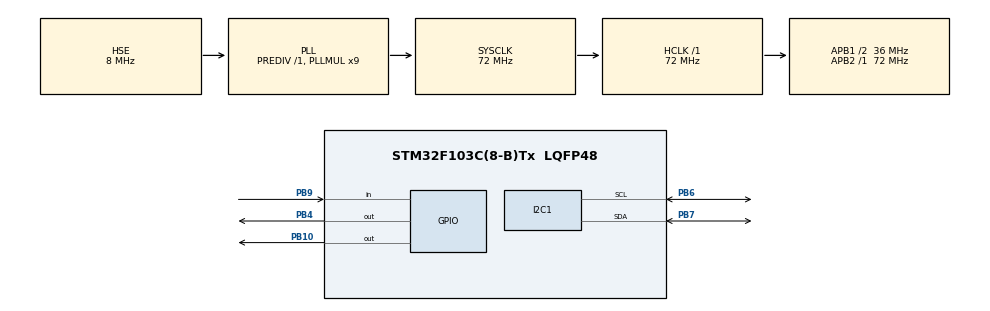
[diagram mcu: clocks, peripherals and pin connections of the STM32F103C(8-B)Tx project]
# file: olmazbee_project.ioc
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Mcu.Family=STM32F1
Mcu.Name=STM32F103C(8-B)Tx
Mcu.Package=LQFP48
NVIC.PriorityGroup=NVIC_PRIORITYGROUP_4
PA13.Mode=Serial_Wire
PA13.Signal=SYS_JTMS-SWDIO
PA14.Mode=Serial_Wire
PA14.Signal=SYS_JTCK-SWCLK
PB10.Signal=GPIO_Output
PB4.Signal=GPIO_Output
PB6.Mode=I2C
PB6.Signal=I2C1_SCL
PB7.Mode=I2C
PB7.Signal=I2C1_SDA
PB9.Signal=GPIO_Input
PD0-OSC_IN.Mode=HSE-External-Oscillator
PD0-OSC_IN.Signal=RCC_OSC_IN
PD1-OSC_OUT.Mode=HSE-External-Oscillator
PD1-OSC_OUT.Signal=RCC_OSC_OUT
ProjectManager.HeapSize=0x200
ProjectManager.StackSize=0x400
ProjectManager.TargetToolchain=STM32CubeIDE
RCC.AHBFreq_Value=72000000
RCC.APB1CLKDivider=RCC_HCLK_DIV2
RCC.APB1Freq_Value=36000000
RCC.APB1TimFreq_Value=72000000
RCC.APB2Freq_Value=72000000
RCC.APB2TimFreq_Value=72000000
RCC.HCLKFreq_Value=72000000
RCC.PLLMUL=RCC_PLL_MUL9
RCC.PLLSourceVirtual=RCC_PLLSOURCE_HSE
RCC.SYSCLKFreq_VALUE=72000000
RCC.SYSCLKSource=RCC_SYSCLKSOURCE_PLLCLK
RCC.USBFreq_Value=72000000
TIM1.Prescaler=71
VP_TIM1_VS_ClockSourceINT.Mode=Internal
board=custom

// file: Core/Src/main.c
#include "main.h"
#include "icons.h" // 新增的图标头文件

/* USER CODE BEGIN Includes */
#include "ssd1306.h"
#include "ssd1306_fonts.h"
#include "stdio.h"
/* USER CODE END Includes */

/* USER CODE BEGIN PD */
#define DHT11_PORT GPIOB
#define DHT11_PIN GPIO_PIN_9
/* USER CODE END PD */

I2C_HandleTypeDef hi2c1;

TIM_HandleTypeDef htim1;

void SystemClock_Config(void);
static void MX_GPIO_Init(void);
static void MX_I2C1_Init(void);
static void MX_TIM1_Init(void);

/* USER CODE BEGIN 0 */

// 1. 微秒延时函数
void microDelay(uint16_t delay)
{
  __HAL_TIM_SET_COUNTER(&htim1, 0);
  while (__HAL_TIM_GET_COUNTER(&htim1) < delay)
    ;
}

// 2. 设置引脚为输出模式
void Set_Pin_Output(GPIO_TypeDef *GPIOx, uint16_t GPIO_Pin)
{
  GPIO_InitTypeDef GPIO_InitStruct = {0};
  GPIO_InitStruct.Pin = GPIO_Pin;
  GPIO_InitStruct.Mode = GPIO_MODE_OUTPUT_PP;
  GPIO_InitStruct.Speed = GPIO_SPEED_FREQ_LOW;
  HAL_GPIO_Init(GPIOx, &GPIO_InitStruct);
}

// 3. 设置引脚为输入模式
void Set_Pin_Input(GPIO_TypeDef *GPIOx, uint16_t GPIO_Pin)
{
  GPIO_InitTypeDef GPIO_InitStruct = {0};
  GPIO_InitStruct.Pin = GPIO_Pin;
  GPIO_InitStruct.Mode = GPIO_MODE_INPUT;
  GPIO_InitStruct.Pull = GPIO_NOPULL; // 假设外部已有上拉电阻
  HAL_GPIO_Init(GPIOx, &GPIO_InitStruct);
}

// 4. DHT11 开始信号
uint8_t DHT11_Start(void)
{
  uint8_t Response = 0;
  Set_Pin_Output(DHT11_PORT, DHT11_PIN);       // 设置为输出
  HAL_GPIO_WritePin(DHT11_PORT, DHT11_PIN, 0); // 拉低
  HAL_Delay(20);                               // 至少18ms
  HAL_GPIO_WritePin(DHT11_PORT, DHT11_PIN, 1); // 拉高
  microDelay(30);                              // 等待 30us
  Set_Pin_Input(DHT11_PORT, DHT11_PIN);        // 设置为输入

  // 等待传感器响应
  uint16_t timeout = 0;
  while (HAL_GPIO_ReadPin(DHT11_PORT, DHT11_PIN))
  {
    timeout++;
    if (timeout > 1000)
      return 0; // 超时
  }
  timeout = 0;
  while (!HAL_GPIO_ReadPin(DHT11_PORT, DHT11_PIN))
  {
    timeout++;
    if (timeout > 1000)
      return 0; // 超时
  }
  timeout = 0;
  while (HAL_GPIO_ReadPin(DHT11_PORT, DHT11_PIN))
  {
    timeout++;
    if (timeout > 1000)
      return 0; // 超时
  }

  return 1; // 成功
}

// 5. DHT11 读取一个字节
uint8_t DHT11_Read(void)
{
  uint8_t i, value = 0;
  for (i = 0; i < 8; i++)
  {
    while (!HAL_GPIO_ReadPin(DHT11_PORT, DHT11_PIN))
      ;                                           // 等待位开始 (高)
    microDelay(40);                               // 延时40us
    if (!HAL_GPIO_ReadPin(DHT11_PORT, DHT11_PIN)) // 如果40us后还是低电平, 则是 0
    {
      value &= ~(1 << (7 - i));
    }
    else // 否则是 1
    {
      value |= (1 << (7 - i));
    }
    while (HAL_GPIO_ReadPin(DHT11_PORT, DHT11_PIN))
      ; // 等待位结束 (低)
  }
  return value;
}

/* USER CODE END 0 */

int main(void)
{

  /* MCU Configuration--------------------------------------------------------*/

  /* Reset of all peripherals, Initializes the Flash interface and the Systick. */
  HAL_Init();

  /* Configure the system clock */
  SystemClock_Config();

  /* Initialize all configured peripherals */
  MX_GPIO_Init();
  MX_I2C1_Init();
  MX_TIM1_Init();
  /* USER CODE BEGIN 2 */
  HAL_TIM_Base_Start(&htim1); // 启动微秒定时器
  ssd1306_Init();             // 初始化OLED

  ssd1306_SetCursor(0, 0);
  ssd1306_WriteString("Starting...", Font_7x10, White);
  ssd1306_UpdateScreen();
  HAL_Delay(1000);

  //
  // !!! --- 把变量定义在 while 循环外面 --- !!!
  //
  uint8_t RHI = 0, RHD = 0, TCI = 0, TCD = 0, SUM = 0;
  uint8_t Temperature = 0; // 初始温度为0
  uint8_t Humidity = 0;    // 初始湿度为0

  // 字符串缓冲区
  char temp_str[20];
  char hum_str[20];
  char fan_str[20]; // 用于调试风扇状态

  /* USER CODE END 2 */

  /* Infinite loop */
  while (1)
  {

    /* USER CODE BEGIN 3 */

    // --- 1. 读取传感器 ---
    if (DHT11_Start())
    {
      RHI = DHT11_Read(); // 湿度整数
      RHD = DHT11_Read(); // 湿度小数
      TCI = DHT11_Read(); // 温度整数
      TCD = DHT11_Read(); // 温度小数
      SUM = DHT11_Read(); // 校验和

      // 只有在校验和正确时, 才更新温湿度值
      // 如果校验失败, Temperature 会保持上一次的正确数值
      if (RHI + RHD + TCI + TCD == SUM)
      {
        Temperature = TCI;
        Humidity = RHI;
      }
    }
    // (如果DHT11_Start()失败, Temperature 也会保持上一次的值)

    // --- 2. 控制逻辑 (风扇) ---
    // 硬件: 风扇在 PB4, 高电平有效 (SET = ON)
    // 逻辑: 温度 > 25 时 ON
    if (Temperature > 26)
    {
      HAL_GPIO_WritePin(GPIOB, GPIO_PIN_4, GPIO_PIN_SET); // <-- 控制 PB4, SET
      sprintf(fan_str, "FAN: ON");
    }
    else
    {
      HAL_GPIO_WritePin(GPIOB, GPIO_PIN_4, GPIO_PIN_RESET); // <-- 控制 PB4, RESET
      sprintf(fan_str, "FAN: OFF");
    }

    // --- 3. 控制逻辑 (蒸汽) ---
    // 硬件: 蒸汽在 PB10, 低电平有效 (RESET = ON)
    // 逻辑: 湿度 < 55 时 ON (你可以改回 45)
    if (Humidity < 65)
    {
      HAL_GPIO_WritePin(GPIOB, GPIO_PIN_10, GPIO_PIN_RESET); // <-- 控制 PB10, RESET
    }
    else
    {
      HAL_GPIO_WritePin(GPIOB, GPIO_PIN_10, GPIO_PIN_SET); // <-- 控制 PB10, SET
    }

    // --- 4. 显示数据到OLED ---
    sprintf(temp_str, "Temp:%d C", Temperature);
    sprintf(hum_str, "Hum: %d %%", Humidity);
    if (Temperature > 26)
    {
      sprintf(fan_str, "FAN: ON");
    }
    else
    {
      sprintf(fan_str, "FAN: OFF");
    }

    ssd1306_Fill(Black); // 清屏

    // --- 显示图标和数据 (最终布局) ---
    // 1. 温度 (黄色区域)
    ssd1306_DrawBitmap(0, 0, icon_temperature, 14, 18, White); // 绘制 14x18 温度图标
    ssd1306_SetCursor(20, 0);                                  // 文字左移
    ssd1306_WriteString(temp_str, Font_11x18, White);

    // 2. 湿度 (蓝色区域)
    ssd1306_DrawBitmap(0, 22, icon_humidity, 14, 18, White); // 绘制 14x18 湿度图标
    ssd1306_SetCursor(20, 24);                               // 文字左移并微调垂直位置
    ssd1306_WriteString(hum_str, Font_11x18, White);

    // 3. 风扇状态 (蓝色区域)
    ssd1306_DrawBitmap(0, 45, icon_fan_on, 18, 18, White); // 绘制 18x18 风扇图标
    ssd1306_SetCursor(20, 50);                             // 文字左移
    ssd1306_WriteString(fan_str, Font_7x10, White);

    ssd1306_UpdateScreen(); // 推送数据到屏幕

    HAL_Delay(1000); // 每一秒钟重复一次

    /* USER CODE END 3 */
  } // <-- 这是 while(1) 的 }
} // <-- 这是 main() 的 }

void SystemClock_Config(void)
{
  RCC_OscInitTypeDef RCC_OscInitStruct = {0};
  RCC_ClkInitTypeDef RCC_ClkInitStruct = {0};

  /** Initializes the RCC Oscillators according to the specified parameters
   * in the RCC_OscInitTypeDef structure.
   */
  RCC_OscInitStruct.OscillatorType = RCC_OSCILLATORTYPE_HSE;
  RCC_OscInitStruct.HSEState = RCC_HSE_ON;
  RCC_OscInitStruct.HSEPredivValue = RCC_HSE_PREDIV_DIV1;
  RCC_OscInitStruct.HSIState = RCC_HSI_ON;
  RCC_OscInitStruct.PLL.PLLState = RCC_PLL_ON;
  RCC_OscInitStruct.PLL.PLLSource = RCC_PLLSOURCE_HSE;
  RCC_OscInitStruct.PLL.PLLMUL = RCC_PLL_MUL9;
  if (HAL_RCC_OscConfig(&RCC_OscInitStruct) != HAL_OK)
  {
    Error_Handler();
  }

  /** Initializes the CPU, AHB and APB buses clocks
   */
  RCC_ClkInitStruct.ClockType = RCC_CLOCKTYPE_HCLK | RCC_CLOCKTYPE_SYSCLK | RCC_CLOCKTYPE_PCLK1 | RCC_CLOCKTYPE_PCLK2;
  RCC_ClkInitStruct.SYSCLKSource = RCC_SYSCLKSOURCE_PLLCLK;
  RCC_ClkInitStruct.AHBCLKDivider = RCC_SYSCLK_DIV1;
  RCC_ClkInitStruct.APB1CLKDivider = RCC_HCLK_DIV2;
  RCC_ClkInitStruct.APB2CLKDivider = RCC_HCLK_DIV1;

  if (HAL_RCC_ClockConfig(&RCC_ClkInitStruct, FLASH_LATENCY_2) != HAL_OK)
  {
    Error_Handler();
  }
}

static void MX_I2C1_Init(void)
{

  hi2c1.Instance = I2C1;
  hi2c1.Init.ClockSpeed = 100000;
  hi2c1.Init.DutyCycle = I2C_DUTYCYCLE_2;
  hi2c1.Init.OwnAddress1 = 0;
  hi2c1.Init.AddressingMode = I2C_ADDRESSINGMODE_7BIT;
  hi2c1.Init.DualAddressMode = I2C_DUALADDRESS_DISABLE;
  hi2c1.Init.OwnAddress2 = 0;
  hi2c1.Init.GeneralCallMode = I2C_GENERALCALL_DISABLE;
  hi2c1.Init.NoStretchMode = I2C_NOSTRETCH_DISABLE;
  if (HAL_I2C_Init(&hi2c1) != HAL_OK)
  {
    Error_Handler();
  }
}

static void MX_TIM1_Init(void)
{

  TIM_ClockConfigTypeDef sClockSourceConfig = {0};
  TIM_MasterConfigTypeDef sMasterConfig = {0};

  htim1.Instance = TIM1;
  htim1.Init.Prescaler = 71;
  htim1.Init.CounterMode = TIM_COUNTERMODE_UP;
  htim1.Init.Period = 65535;
  htim1.Init.ClockDivision = TIM_CLOCKDIVISION_DIV1;
  htim1.Init.RepetitionCounter = 0;
  htim1.Init.AutoReloadPreload = TIM_AUTORELOAD_PRELOAD_DISABLE;
  if (HAL_TIM_Base_Init(&htim1) != HAL_OK)
  {
    Error_Handler();
  }
  sClockSourceConfig.ClockSource = TIM_CLOCKSOURCE_INTERNAL;
  if (HAL_TIM_ConfigClockSource(&htim1, &sClockSourceConfig) != HAL_OK)
  {
    Error_Handler();
  }
  sMasterConfig.MasterOutputTrigger = TIM_TRGO_RESET;
  sMasterConfig.MasterSlaveMode = TIM_MASTERSLAVEMODE_DISABLE;
  if (HAL_TIMEx_MasterConfigSynchronization(&htim1, &sMasterConfig) != HAL_OK)
  {
    Error_Handler();
  }
}

static void MX_GPIO_Init(void)
{
  GPIO_InitTypeDef GPIO_InitStruct = {0};

  /* GPIO Ports Clock Enable */
  __HAL_RCC_GPIOD_CLK_ENABLE();
  __HAL_RCC_GPIOB_CLK_ENABLE();
  __HAL_RCC_GPIOA_CLK_ENABLE();

  /*Configure GPIO pin Output Level */
  HAL_GPIO_WritePin(GPIOB, GPIO_PIN_10 | GPIO_PIN_4, GPIO_PIN_RESET);

  /*Configure GPIO pins : PB10 PB4 */
  GPIO_InitStruct.Pin = GPIO_PIN_10 | GPIO_PIN_4;
  GPIO_InitStruct.Mode = GPIO_MODE_OUTPUT_PP;
  GPIO_InitStruct.Pull = GPIO_NOPULL;
  GPIO_InitStruct.Speed = GPIO_SPEED_FREQ_LOW;
  HAL_GPIO_Init(GPIOB, &GPIO_InitStruct);

  /*Configure GPIO pin : PB9 */
  GPIO_InitStruct.Pin = GPIO_PIN_9;
  GPIO_InitStruct.Mode = GPIO_MODE_INPUT;
  GPIO_InitStruct.Pull = GPIO_NOPULL;
  HAL_GPIO_Init(GPIOB, &GPIO_InitStruct);
}

void Error_Handler(void)
{
  __disable_irq();
  while (1)
  {
  }
}
